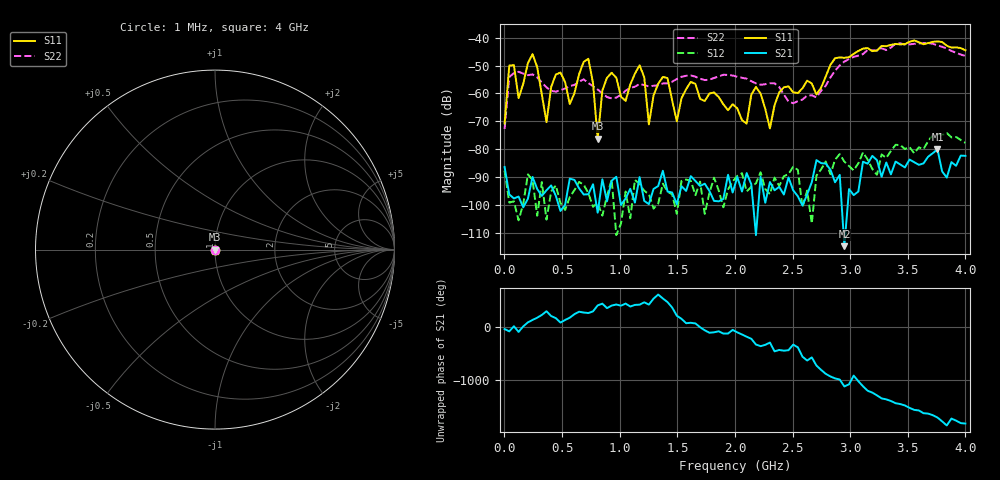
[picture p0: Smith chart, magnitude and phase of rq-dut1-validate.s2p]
!Created with skrf (http://scikit-rf.org).
# GHz S DB R 50.0
!freq dBS11 angS11 dBS21 angS21 dBS12 angS12 dBS22 angS22
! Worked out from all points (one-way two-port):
!   100 points, 1 MHz to 4 GHz, reference 50 ohm
!   highest |S21| = -80.08 dB at 3.758 GHz (marker M1); lowest = -114.9 dB at 2.95 GHz (marker M2)
!   lowest |S11| = -76.3 dB at 808.9 MHz (marker M3), VSWR 1.00, Z = 50 - j0.000635 ohm
!   |S11| at or under -10 dB: start of sweep to end of sweep
!   |S22| runs from -72.7 to -41.8 dB; largest |S21 - S12| = 0.00023
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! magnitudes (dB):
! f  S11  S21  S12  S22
! 1 MHz  -70.8  -86.4  -87.7  -72.7
! 41.39 MHz  -50.0  -96.3  -99.2  -54.1
! 122.2 MHz  -61.7  -97.1  -105.6  -52.2
! 243.4 MHz  -45.9  -90.0  -91.1  -53.1
! 364.5 MHz  -70.3  -94.8  -105.4  -57.8
! 445.3 MHz  -53.2  -96.8  -93.1  -59.4
! 566.5 MHz  -63.8  -90.6  -97.2  -57.3
! 687.7 MHz  -48.6  -96.3  -92.8  -54.9
! 808.9 MHz  -76.3  -102.9  -99.3  -58.6
! 930.1 MHz  -52.6  -91.4  -90.9  -61.8
! 1.051 GHz  -62.7  -97.8  -95.3  -59.0
! 1.172 GHz  -49.8  -90.1  -92.6  -56.6
! 1.253 GHz  -71.1  -99.8  -96.2  -57.5
! 1.334 GHz  -56.5  -93.3  -99.6  -57.0
! 1.496 GHz  -70.0  -99.8  -103.3  -54.8
! 1.617 GHz  -55.8  -89.7  -91.4  -53.5
! 2.021 GHz  -65.4  -90.1  -89.6  -54.0
! 2.667 GHz  -56.4  -91.9  -106.8  -60.6
! 2.95 GHz  -47.2  -114.9  -84.5  -48.5
! 3.354 GHz  -42.5  -89.1  -80.7  -43.5
! 3.758 GHz  -41.3  -80.1  -74.5  -42.7
! 4 GHz  -44.4  -82.4  -77.8  -46.5
